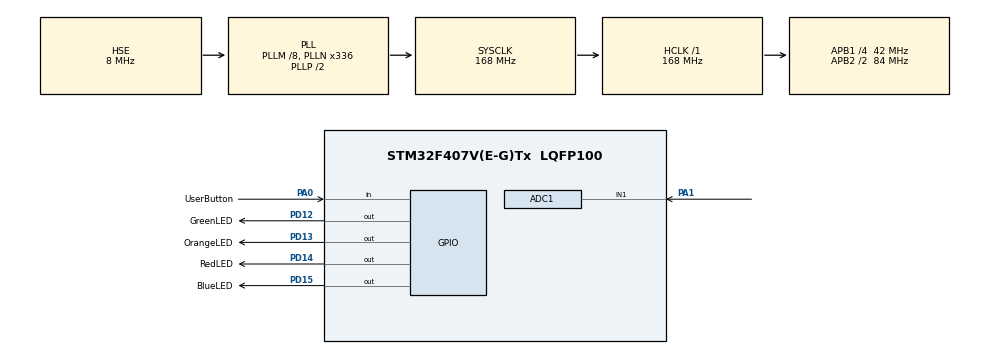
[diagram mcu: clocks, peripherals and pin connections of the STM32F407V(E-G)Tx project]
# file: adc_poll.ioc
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ADC1.Channel-0\#ChannelRegularConversion=ADC_CHANNEL_1
ADC1.NbrOfConversionFlag=1
ADC1.Rank-0\#ChannelRegularConversion=1
ADC1.SamplingTime-0\#ChannelRegularConversion=ADC_SAMPLETIME_3CYCLES
ADC1.master=1
Mcu.Family=STM32F4
Mcu.Name=STM32F407V(E-G)Tx
Mcu.Package=LQFP100
NVIC.PriorityGroup=NVIC_PRIORITYGROUP_0
PA0-WKUP.GPIO_Label=UserButton
PA0-WKUP.Signal=GPIO_Input
PA1.Signal=ADCx_IN1
PA13.Mode=Trace_Asynchronous_SW
PA13.Signal=SYS_JTMS-SWDIO
PA14.Mode=Trace_Asynchronous_SW
PA14.Signal=SYS_JTCK-SWCLK
PB3.Mode=Trace_Asynchronous_SW
PB3.Signal=SYS_JTDO-SWO
PD12.GPIO_Label=GreenLED
PD12.Signal=GPIO_Output
PD13.GPIO_Label=OrangeLED 
PD13.Signal=GPIO_Output
PD14.GPIO_Label=RedLED 
PD14.Signal=GPIO_Output
PD15.GPIO_Label=BlueLED 
PD15.Signal=GPIO_Output
PH0-OSC_IN.Mode=HSE-External-Oscillator
PH0-OSC_IN.Signal=RCC_OSC_IN
PH1-OSC_OUT.Mode=HSE-External-Oscillator
PH1-OSC_OUT.Signal=RCC_OSC_OUT
ProjectManager.HeapSize=0x200
ProjectManager.StackSize=0x400
ProjectManager.TargetToolchain=STM32CubeIDE
RCC.48MHZClocksFreq_Value=48000000
RCC.AHBFreq_Value=168000000
RCC.APB1CLKDivider=RCC_HCLK_DIV4
RCC.APB1Freq_Value=42000000
RCC.APB1TimFreq_Value=84000000
RCC.APB2CLKDivider=RCC_HCLK_DIV2
RCC.APB2Freq_Value=84000000
RCC.APB2TimFreq_Value=168000000
RCC.CortexFreq_Value=168000000
RCC.HCLKFreq_Value=168000000
RCC.HSE_VALUE=8000000
RCC.HSI_VALUE=16000000
RCC.LSE_VALUE=32768
RCC.PLLM=8
RCC.PLLN=336
RCC.PLLQ=7
RCC.PLLSourceVirtual=RCC_PLLSOURCE_HSE
RCC.SYSCLKFreq_VALUE=168000000
RCC.SYSCLKSource=RCC_SYSCLKSOURCE_PLLCLK
RCC.VCOOutputFreq_Value=336000000
SH.ADCx_IN1.0=ADC1_IN1,IN1
VP_RNG_VS_RNG.Mode=RNG_Activate
board=STM32F407G-DISC1

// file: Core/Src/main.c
/* USER CODE BEGIN Header */
/**
  ******************************************************************************
  * @file           : main.c
  * @brief          : Main program body
  ******************************************************************************
  * @attention
  *
  * Copyright (c) 2024 STMicroelectronics.
  * All rights reserved.
  *
  * This software is licensed under terms that can be found in the LICENSE file
  * in the root directory of this software component.
  * If no LICENSE file comes with this software, it is provided AS-IS.
  *
  ******************************************************************************
  */
/* USER CODE END Header */
#include "main.h"
#include "adc.h"
#include "rng.h"
#include "gpio.h"

/* USER CODE BEGIN Includes */
#include <stdio.h>

/* USER CODE END Includes */

/* USER CODE BEGIN PV */
uint32_t data_in;

/* USER CODE END PV */

void SystemClock_Config(void);
/* USER CODE BEGIN PFP */
int __io_putchar(int ch);

/* USER CODE END PFP */

int main(void)
{

  /* MCU Configuration--------------------------------------------------------*/

  /* Reset of all peripherals, Initializes the Flash interface and the Systick. */
  HAL_Init();

  /* Configure the system clock */
  SystemClock_Config();

  /* Initialize all configured peripherals */
  MX_GPIO_Init();
  MX_RNG_Init();
  MX_ADC1_Init();

  /* Infinite loop */
  /* USER CODE BEGIN WHILE */
  while (1)
  {
//	  printf("testing\n");
//	  HAL_Delay(500);

	  HAL_ADC_Start(&hadc1);
	  HAL_ADC_PollForConversion(&hadc1, 200);
	  data_in = HAL_ADC_GetValue(&hadc1);
	  HAL_ADC_Stop(&hadc1);
	  printf("Data in: %d\n", data_in);
	  if (data_in > 3200){
		  HAL_GPIO_WritePin(GreenLED_GPIO_Port, GreenLED_Pin, GPIO_PIN_SET);
		  HAL_GPIO_WritePin(RedLED_GPIO_Port, RedLED_Pin, GPIO_PIN_RESET);
	  } else if (data_in < 800){
		  HAL_GPIO_WritePin(GreenLED_GPIO_Port, GreenLED_Pin, GPIO_PIN_RESET);
		  HAL_GPIO_WritePin(RedLED_GPIO_Port, RedLED_Pin, GPIO_PIN_SET);
	  }
	  HAL_Delay(500);
    /* USER CODE END WHILE */

  }
}

void SystemClock_Config(void)
{
  RCC_OscInitTypeDef RCC_OscInitStruct = {0};
  RCC_ClkInitTypeDef RCC_ClkInitStruct = {0};

  /** Configure the main internal regulator output voltage
  */
  __HAL_RCC_PWR_CLK_ENABLE();
  __HAL_PWR_VOLTAGESCALING_CONFIG(PWR_REGULATOR_VOLTAGE_SCALE1);

  /** Initializes the RCC Oscillators according to the specified parameters
  * in the RCC_OscInitTypeDef structure.
  */
  RCC_OscInitStruct.OscillatorType = RCC_OSCILLATORTYPE_HSE;
  RCC_OscInitStruct.HSEState = RCC_HSE_ON;
  RCC_OscInitStruct.PLL.PLLState = RCC_PLL_ON;
  RCC_OscInitStruct.PLL.PLLSource = RCC_PLLSOURCE_HSE;
  RCC_OscInitStruct.PLL.PLLM = 8;
  RCC_OscInitStruct.PLL.PLLN = 336;
  RCC_OscInitStruct.PLL.PLLP = RCC_PLLP_DIV2;
  RCC_OscInitStruct.PLL.PLLQ = 7;
  if (HAL_RCC_OscConfig(&RCC_OscInitStruct) != HAL_OK)
  {
    Error_Handler();
  }

  /** Initializes the CPU, AHB and APB buses clocks
  */
  RCC_ClkInitStruct.ClockType = RCC_CLOCKTYPE_HCLK|RCC_CLOCKTYPE_SYSCLK
                              |RCC_CLOCKTYPE_PCLK1|RCC_CLOCKTYPE_PCLK2;
  RCC_ClkInitStruct.SYSCLKSource = RCC_SYSCLKSOURCE_PLLCLK;
  RCC_ClkInitStruct.AHBCLKDivider = RCC_SYSCLK_DIV1;
  RCC_ClkInitStruct.APB1CLKDivider = RCC_HCLK_DIV4;
  RCC_ClkInitStruct.APB2CLKDivider = RCC_HCLK_DIV2;

  if (HAL_RCC_ClockConfig(&RCC_ClkInitStruct, FLASH_LATENCY_5) != HAL_OK)
  {
    Error_Handler();
  }
}

/* USER CODE BEGIN 4 */
int __io_putchar(int ch){
	ITM_SendChar(ch);
	return 0;
}

/* USER CODE END 4 */

void Error_Handler(void)
{
  __disable_irq();
  while (1)
  {
  }
}
